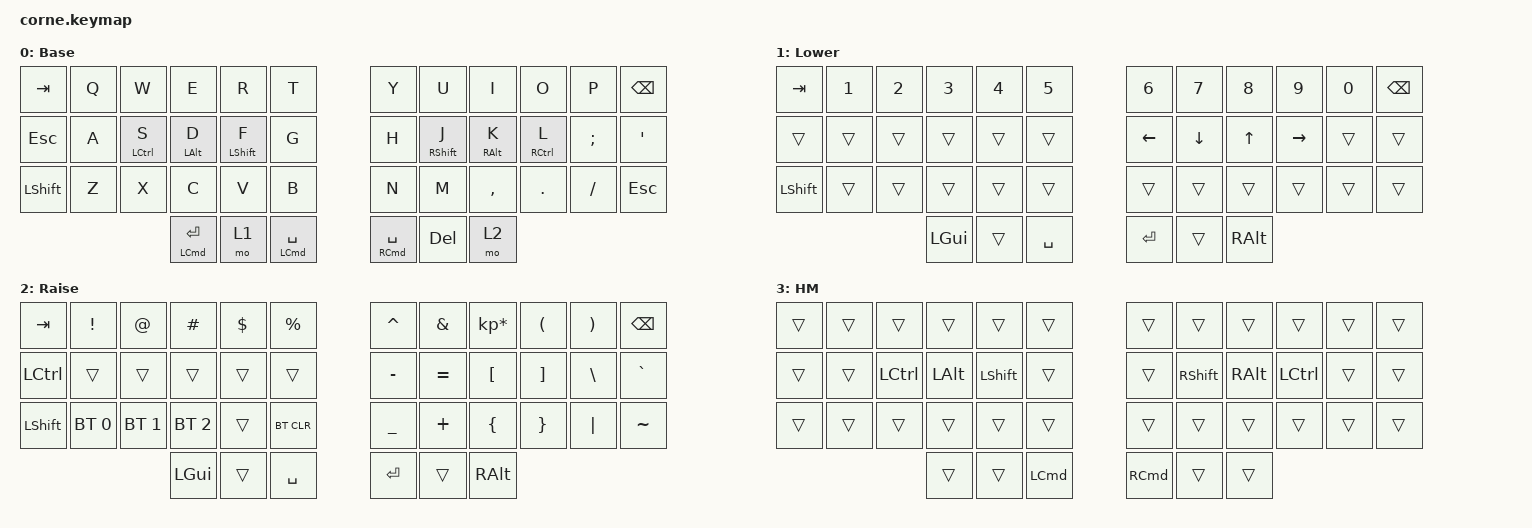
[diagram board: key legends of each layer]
/*
 * Copyright (c) 2020 The ZMK Contributors
 *
 * SPDX-License-Identifier: MIT
 */

#include <behaviors.dtsi>
#include <dt-bindings/zmk/bt.h>
#include <dt-bindings/zmk/keys.h>

/ {
    behaviors {
        hrm: hrm {
            compatible = "zmk,behavior-hold-tap";
            label = "HRM";
            bindings = <&kp>, <&kp>;

            #binding-cells = <2>;
            tapping-term-ms = <400>;
            quick-tap-ms = <175>;
            require-prior-idle-ms = <150>;
            flavor = "balanced";
        };
    };

    keymap {
        compatible = "zmk,keymap";

        default_layer {
            // -----------------------------------------------------------------------------------------
            // |  TAB |  Q  |  W  |  E  |  R  |  T  |   |  Y  |  U   |  I  |  O  |  P  | BKSP |
            // | CTRL |  A  |  S  |  D  |  F  |  G  |   |  H  |  J   |  K  |  L  |  ;  |  '   |
            // | SHFT |  Z  |  X  |  C  |  V  |  B  |   |  N  |  M   |  ,  |  .  |  /  | ESC  |
            //                    | GUI | LWR | SPC |   | ENT | RSE  | ALT |

            display-name = "Base";
            bindings = <
&kp TAB     &kp Q  &kp W         &kp E                     &kp R         &kp T                      &kp Y                     &kp U         &kp I        &kp O         &kp P     &kp BSPC
&kp ESCAPE  &kp A  &hrm LCTRL S  &hrm LALT D               &hrm LSHFT F  &kp G                      &kp H                     &hrm RSHFT J  &hrm RALT K  &hrm RCTRL L  &kp SEMI  &kp SQT
&kp LSHFT   &kp Z  &kp X         &kp C                     &kp V         &kp B                      &kp N                     &kp M         &kp COMMA    &kp DOT       &kp FSLH  &kp ESC
                                 &hrm LEFT_COMMAND RETURN  &mo 1         &hrm LEFT_COMMAND SPACE    &hrm RIGHT_COMMAND SPACE  &kp DELETE    &mo 2
            >;
        };

        lower_layer {
            // -----------------------------------------------------------------------------------------
            // |  TAB |  1  |  2  |  3  |  4  |  5  |   |  6  |  7  |  8  |  9  |  0  | BKSP |
            // | BTCLR| BT1 | BT2 | BT3 | BT4 | BT5 |   | LFT | DWN |  UP | RGT |     |      |
            // | SHFT |     |     |     |     |     |   |     |     |     |     |     |      |
            //                    | GUI |     | SPC |   | ENT |     | ALT |

            display-name = "Lower";
            bindings = <
&kp TAB    &kp N1  &kp N2  &kp N3    &kp N4  &kp N5       &kp N6    &kp N7    &kp N8    &kp N9     &kp N0  &kp BSPC
&trans     &trans  &trans  &trans    &trans  &trans       &kp LEFT  &kp DOWN  &kp UP    &kp RIGHT  &trans  &trans
&kp LSHFT  &trans  &trans  &trans    &trans  &trans       &trans    &trans    &trans    &trans     &trans  &trans
                           &kp LGUI  &trans  &kp SPACE    &kp RET   &trans    &kp RALT
            >;
        };

        raise_layer {
            // -----------------------------------------------------------------------------------------
            // |  TAB |  !  |  @  |  #  |  $  |  %  |   |  ^  |  &  |  *  |  (  |  )  | BKSP |
            // | CTRL |     |     |     |     |     |   |  -  |  =  |  [  |  ]  |  \  |  `   |
            // | SHFT |     |     |     |     |     |   |  _  |  +  |  {  |  }  | "|" |  ~   |
            //                    | GUI |     | SPC |   | ENT |     | ALT |

            display-name = "Raise";
            bindings = <
&kp TAB    &kp EXCL      &kp AT        &kp HASH      &kp DLLR  &kp PRCNT     &kp CARET  &kp AMPS   &kp KP_MULTIPLY  &kp LPAR  &kp RPAR  &kp BSPC
&kp LCTRL  &trans        &trans        &trans        &trans    &trans        &kp MINUS  &kp EQUAL  &kp LBKT         &kp RBKT  &kp BSLH  &kp GRAVE
&kp LSHFT  &bt BT_SEL 0  &bt BT_SEL 1  &bt BT_SEL 2  &trans    &bt BT_CLR    &kp UNDER  &kp PLUS   &kp LBRC         &kp RBRC  &kp PIPE  &kp TILDE
                                       &kp LGUI      &trans    &kp SPACE     &kp RET    &trans     &kp RALT
            >;
        };

        HM {
            bindings = <
&trans  &trans  &trans            &trans        &trans          &trans              &trans             &trans           &trans         &trans            &trans  &trans
&trans  &trans  &kp LEFT_CONTROL  &kp LEFT_ALT  &kp LEFT_SHIFT  &trans              &trans             &kp RIGHT_SHIFT  &kp RIGHT_ALT  &kp LEFT_CONTROL  &trans  &trans
&trans  &trans  &trans            &trans        &trans          &trans              &trans             &trans           &trans         &trans            &trans  &trans
                                  &trans        &trans          &kp LEFT_COMMAND    &kp RIGHT_COMMAND  &trans           &trans
            >;
        };

        extra_1 { status = "reserved"; };

        extra_2 { status = "reserved"; };

        extra_3 { status = "reserved"; };
    };
};
